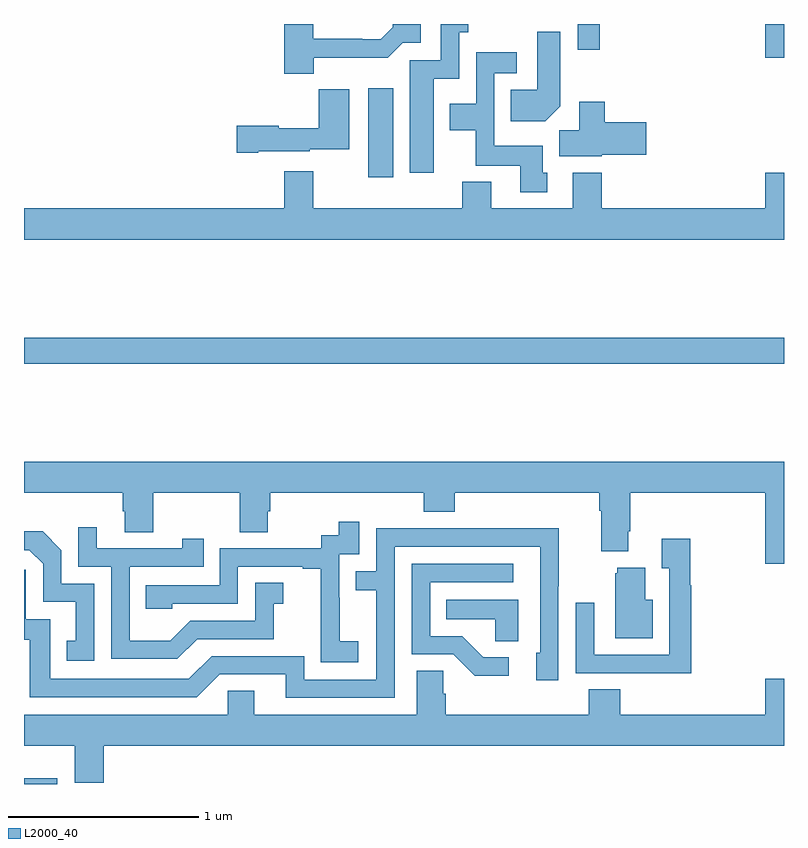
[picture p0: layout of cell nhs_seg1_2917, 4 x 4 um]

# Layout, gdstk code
import gdstk
lib = gdstk.Library(unit=1e-6, precision=1e-09)
def R(c, l, rs):  # rectangles x0, y0, x1, y1
    for r in rs: c.add(gdstk.rectangle(r[:2], r[2:], *l))
def P(c, l, *ps):  # polygons
    for p in ps: c.add(gdstk.Polygon(p, *l))
L2000_40 = (2000, 40)

nhs_seg1_2917 = lib.new_cell('nhs_seg1_2917')
R(nhs_seg1_2917, L2000_40, [(269,550.199,269.176,550.228), (269,552.412,273,552.548), (270.812,553.392,270.943,553.861), (272.9,554.022,273,554.199), (271.914,554.064,272.03,554.199)])
P(nhs_seg1_2917, L2000_40, [(270.526,554.022),(270.915,554.022),(270.993,554.1),(271.087,554.1),(271.087,554.197),(270.942,554.197),(270.942,554.182),(270.878,554.118),(270.779,554.118),(270.779,554.121),(270.523,554.121),(270.523,554.199),(270.371,554.199),(270.371,553.937),(270.526,553.937)],
  [(271.156,553.91),(271.29,553.91),(271.29,554.155),(271.338,554.155),(271.338,554.199),(271.194,554.199),(271.194,554.007),(271.031,554.007),(271.031,553.416),(271.156,553.416)],
  [(271.822,553.766),(271.822,554.158),(271.7,554.158),(271.7,553.852),(271.561,553.852),(271.561,553.688),(271.744,553.688)],
  [(271.753,553.416),(271.729,553.416),(271.729,553.558),(271.476,553.558),(271.476,553.941),(271.594,553.941),(271.594,554.05),(271.38,554.05),(271.38,553.78),(271.241,553.78),(271.241,553.64),(271.378,553.64),(271.378,553.454),(271.613,553.454),(271.613,553.314),(271.753,553.314)],
  [(270.232,553.529),(270.504,553.529),(270.504,553.541),(270.712,553.541),(270.712,553.855),(270.55,553.855),(270.55,553.651),(270.342,553.651),(270.342,553.664),(270.12,553.664),(270.12,553.522),(270.232,553.522)],
  [(272.04,553.511),(272.275,553.511),(272.275,553.682),(272.057,553.682),(272.057,553.789),(271.922,553.789),(271.922,553.64),(271.817,553.64),(271.817,553.502),(272.04,553.502)],
  [(273,553.417),(272.9,553.417),(272.9,553.228),(272.042,553.228),(272.042,553.417),(271.889,553.417),(271.889,553.228),(271.459,553.228),(271.459,553.369),(271.307,553.369),(271.307,553.228),(270.523,553.228),(270.523,553.423),(270.371,553.423),(270.371,553.228),(269,553.228),(269,553.064),(273,553.064)],
  [(273,551.896),(269,551.896),(269,551.732),(269.519,551.732),(269.519,551.634),(269.531,551.634),(269.531,551.524),(269.679,551.524),(269.679,551.732),(270.136,551.732),(270.136,551.524),(270.283,551.524),(270.283,551.634),(270.296,551.634),(270.296,551.732),(271.103,551.732),(271.103,551.633),(271.268,551.633),(271.268,551.732),(272.027,551.732),(272.027,551.636),(272.039,551.636),(272.039,551.423),(272.179,551.423),(272.179,551.53),(272.192,551.53),(272.192,551.732),(272.9,551.732),(272.9,551.358),(273,551.358)],
  [(270.76,550.951),(270.662,550.951),(270.662,551.18),(270.66,551.18),(270.66,551.409),(270.765,551.409),(270.765,551.578),(270.657,551.578),(270.657,551.508),(270.564,551.508),(270.564,551.439),(270.03,551.439),(270.03,551.244),(269.641,551.244),(269.641,551.121),(269.781,551.121),(269.781,551.148),(270.126,551.148),(270.126,551.343),(270.467,551.343),(270.467,551.331),(270.563,551.331),(270.563,551.047),(270.562,551.047),(270.562,550.841),(270.76,550.841)],
  [(269.911,550.962),(270.315,550.962),(270.315,551.147),(270.364,551.147),(270.364,551.257),(270.216,551.257),(270.216,551.058),(269.874,551.058),(269.77,550.954),(269.556,550.954),(269.556,551.343),(269.945,551.343),(269.945,551.491),(269.834,551.491),(269.834,551.439),(269.383,551.439),(269.383,551.551),(269.286,551.551),(269.286,551.343),(269.46,551.343),(269.46,550.857),(269.806,550.857)],
  [(270.951,551.448),(271.716,551.448),(271.716,550.89),(271.697,550.89),(271.697,550.746),(271.812,550.746),(271.812,551.239),(271.815,551.239),(271.815,551.546),(271.351,551.546),(271.351,551.544),(270.855,551.544),(270.855,551.319),(270.745,551.319),(270.745,551.218),(270.855,551.218),(270.855,550.749),(270.474,550.749),(270.474,550.872),(269.988,550.872),(269.868,550.752),(269.139,550.752),(269.139,551.067),(269.01,551.067),(269.01,551.326),(269,551.326),(269,550.959),(269.031,550.959),(269.031,550.656),(269.91,550.656),(270.03,550.776),(270.377,550.776),(270.377,550.653),(270.951,550.653)],
  [(269.37,551.253),(269.196,551.253),(269.196,551.43),(269.098,551.528),(269,551.528),(269,551.43),(269.028,551.43),(269.1,551.358),(269.1,551.157),(269.273,551.157),(269.273,550.953),(269.224,550.953),(269.224,550.848),(269.37,550.848)],
  [(272.513,551.246),(272.506,551.246),(272.506,551.491),(272.357,551.491),(272.357,551.335),(272.397,551.335),(272.397,550.878),(272.001,550.878),(272.001,551.152),(271.905,551.152),(271.905,550.782),(272.221,550.782),(272.221,550.781),(272.513,550.781)],
  [(271.552,550.866),(271.417,550.866),(271.306,550.977),(271.137,550.977),(271.137,551.262),(271.576,551.262),(271.576,551.358),(271.041,551.358),(271.041,550.881),(271.26,550.881),(271.373,550.769),(271.552,550.769)],
  [(272.308,551.17),(272.269,551.17),(272.269,551.338),(272.123,551.338),(272.123,551.307),(272.111,551.307),(272.111,550.967),(272.308,550.967)],
  [(271.6,551.17),(271.222,551.17),(271.222,551.066),(271.479,551.066),(271.479,550.951),(271.6,550.951)],
  [(269.42,550.4),(273,550.4),(273,550.753),(272.9,550.753),(272.9,550.564),(272.138,550.564),(272.138,550.697),(271.973,550.697),(271.973,550.564),(271.22,550.564),(271.22,550.673),(271.206,550.673),(271.206,550.796),(271.067,550.796),(271.067,550.564),(270.211,550.564),(270.211,550.691),(270.072,550.691),(270.072,550.564),(269,550.564),(269,550.4),(269.267,550.4),(269.267,550.206),(269.42,550.206)])

lib.write_gds('nhs_seg1_2917.gds')
